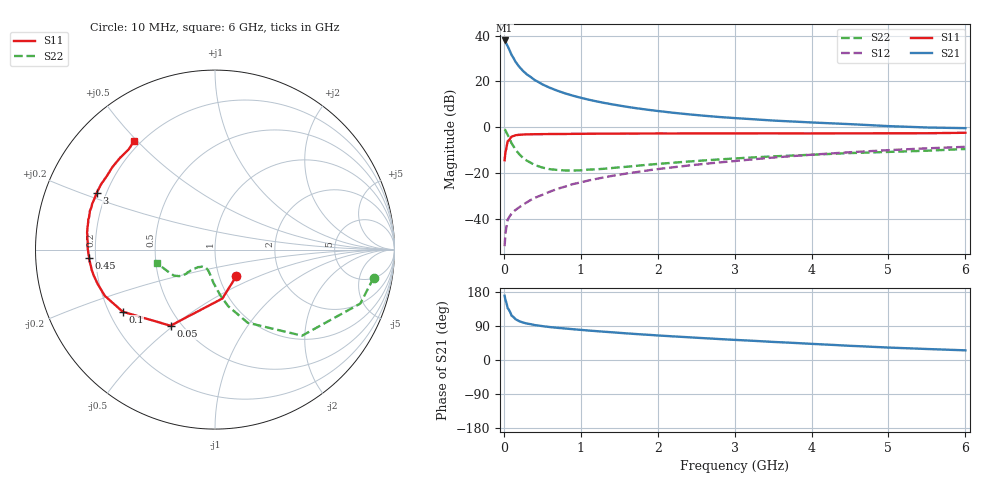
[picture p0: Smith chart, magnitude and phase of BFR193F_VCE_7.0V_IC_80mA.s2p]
! Infineon Technologies  Discrete & RF Semiconductors
! BFR193F
! VCE =  7.0 V,  IC =  80 mA
! Common Emitter S-Parameters:  Jan 2017
# GHz  S  MA  R  50
!  f  S11  S21  S12  S22
! GHz  MAG  ANG  MAG  ANG  MAG  ANG  MAG  ANG
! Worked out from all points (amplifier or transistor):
!   77 points, 10 MHz to 6 GHz, reference 50 ohm
!   highest |S21| = 37.9 dB at 10 MHz (marker M1)
!   |S21| within 3 dB of that: start of sweep to 56.91 MHz
!   unconditionally stable (mu >= 1): 552.5 MHz to 2.661 GHz
!   at 130 MHz: K = 0.58, MSG = 33.4 dB, |S12| = -36.8 dB
!   at 2.2 GHz: K = 1.02, MAG = 11.0 dB, |S12| = -17.5 dB
!   at 6 GHz: K = 0.86, MSG = 4.1 dB, |S12| = -8.6 dB
!   S11 on the Smith chart (normalised r, x): 10 MHz: 1.20, -0.37; 50 MHz: 0.44, -0.49; 100 MHz: 0.25, -0.29; 450 MHz: 0.17, -0.03; 3 GHz: 0.16, +0.22; 6 GHz: 0.17, +0.49
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0.01  0.1899 -51.6  78.71 169.6  0.0025 81.5  0.8981 -10.0
0.02  0.2753 -81.3  74.88 159.5  0.0045 72.9  0.8634 -20.4
0.05  0.4912 -120.3  58.89 136.8  0.0095 62.8  0.6822 -44.7
0.1  0.6203 -146.1  38.16 117.1  0.0129 54.2  0.4463 -65.9
0.15  0.6659 -157.3  27.21 107.9  0.0154 54.3  0.3237 -76.9
0.2  0.6812 -163.6  20.91 102.4  0.0177 56.2  0.257 -83.3
0.25  0.6908 -167.9  16.93 98.8  0.0202 58.8  0.2114 -88.5
0.3  0.696 -170.6  14.22 96.2  0.0228 62.2  0.1849 -92.8
0.4  0.7015 -174.7  10.76 92.2  0.0284 66.2  0.149 -99.1
0.45  0.7027 -176.1  9.7 91.0  0.0307 67.6  0.1398 -101.6
0.5  0.7043 -177.4  8.65 89.4  0.0331 68.8  0.1308 -104.4
0.6  0.7083 -179.9  7.244 86.9  0.039 71.5  0.1204 -109.3
0.7  0.7107 178.1  6.228 84.8  0.045 72.6  0.1159 -113.1
0.9  0.7144 175.0  4.869 81.2  0.057 74.3  0.1127 -120.2
1.1  0.7189 172.5  4.002 77.8  0.0683 75.5  0.118 -125.2
1.5  0.7229 167.8  2.97 71.7  0.0914 75.9  0.1325 -132.6
2.1  0.7286 162.0  2.163 63.6  0.1267 75.7  0.1619 -137.9
3  0.731 154.4  1.581 53.1  0.1813 74.0  0.2069 -139.9
3.1  0.7308 153.6  1.543 52.1  0.1883 73.6  0.2115 -140.2
4.1  0.7293 144.8  1.246 41.6  0.2563 69.4  0.2536 -144.5
5.1  0.7355 135.0  1.04 32.1  0.3201 63.4  0.2911 -155.7
6  0.7546 126.5  0.952 25.5  0.3719 57.8  0.3335 -166.8
